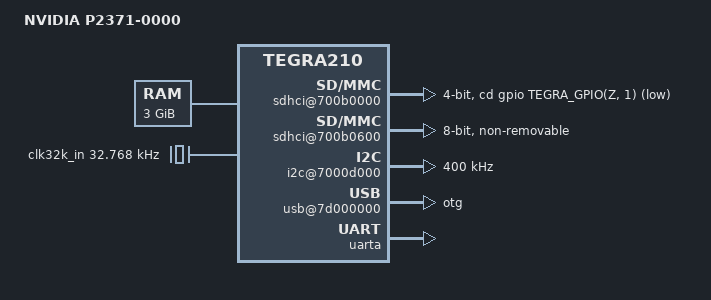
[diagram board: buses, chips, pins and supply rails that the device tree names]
/dts-v1/;

#include "tegra210.dtsi"

/ {
	model = "NVIDIA P2371-0000";
	compatible = "nvidia,p2371-0000", "nvidia,tegra210";

	chosen {
		stdout-path = &uarta;
	};

	aliases {
		i2c0 = "/i2c@7000d000";
		mmc0 = "/sdhci@700b0600";
		mmc1 = "/sdhci@700b0000";
		usb0 = "/usb@7d000000";
	};

	memory {
		reg = <0x0 0x80000000 0x0 0xc0000000>;
	};

	sdhci@700b0000 {
		status = "okay";
		cd-gpios = <&gpio TEGRA_GPIO(Z, 1) GPIO_ACTIVE_LOW>;
		power-gpios = <&gpio TEGRA_GPIO(Z, 4) GPIO_ACTIVE_HIGH>;
		bus-width = <4>;
	};

	sdhci@700b0600 {
		status = "okay";
		bus-width = <8>;
		non-removable;
	};

	i2c@7000d000 {
		status = "okay";
		clock-frequency = <400000>;
	};

	usb@7d000000 {
		status = "okay";
		dr_mode = "otg";
		nvidia,vbus-gpio = <&gpio TEGRA_GPIO(CC, 4) GPIO_ACTIVE_HIGH>;
	};

	clocks {
		compatible = "simple-bus";
		#address-cells = <1>;
		#size-cells = <0>;

		clk32k_in: clock@0 {
			compatible = "fixed-clock";
			reg = <0>;
			#clock-cells = <0>;
			clock-frequency = <32768>;
		};
	};
};

&uarta {
	status = "okay";
};
